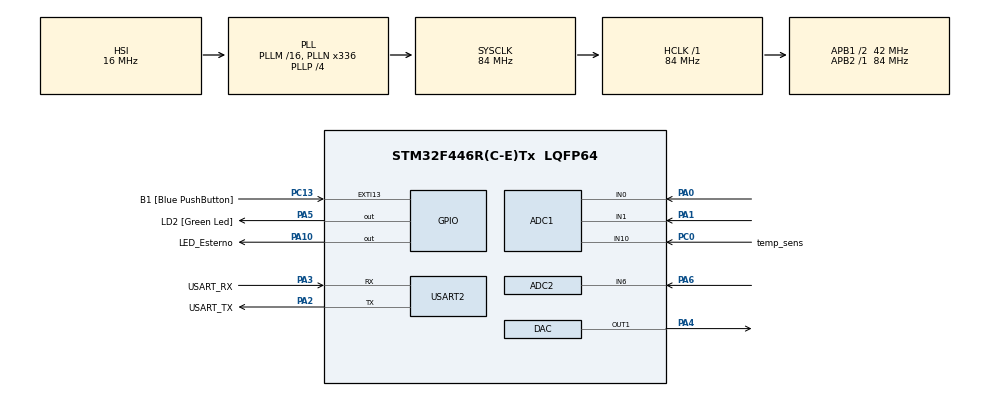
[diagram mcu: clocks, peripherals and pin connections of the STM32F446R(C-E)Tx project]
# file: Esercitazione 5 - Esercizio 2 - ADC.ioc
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Mcu.Family=STM32F4
PH0-OSC_IN.Signal=RCC_OSC_IN
RCC.CortexFreq_Value=84000000
VP_ADC1_TempSens_Input.Mode=IN-TempSens
ADC1.ContinuousConvMode=ENABLE
PA10.GPIO_PuPd=GPIO_PULLUP
PA14.GPIO_Label=TCK
PC0.GPIO_Label=temp_sens
PC13.GPIO_Label=B1 [Blue PushButton]
RCC.SYSCLKSource=RCC_SYSCLKSOURCE_PLLCLK
ProjectManager.StackSize=0x400
RCC.HCLKFreq_Value=84000000
RCC.APB2TimFreq_Value=84000000
RCC.AHBFreq_Value=84000000
PH0-OSC_IN.Mode=HSE-External-Oscillator
RCC.HSE_VALUE=8000000
ADC1.ScanConvMode=ENABLE
PC14-OSC32_IN.Mode=LSE-External-Oscillator
PA14.Mode=Serial_Wire
PA10.GPIO_Label=LED_Esterno
SH.ADCx_IN0.1=ADC2_IN0
SH.ADCx_IN0.0=ADC1_IN0,IN0
RCC.FLatency-AdvancedSettings=FLASH_LATENCY_2
PH1-OSC_OUT.Mode=HSE-External-Oscillator
Mcu.Package=LQFP64
PA6.Signal=ADCx_IN6
USART2.VirtualMode=VM_ASYNC
PA2.GPIO_Label=USART_TX
PA10.Signal=GPIO_Output
SH.ADCx_IN1.0=ADC1_IN1,IN1
SH.ADCx_IN1.1=ADC2_IN1
RCC.APB1TimFreq_Value=84000000
ADC1.EOCSelection=ADC_EOC_SINGLE_CONV
ADC2.Channel-3\#ChannelRegularConversion=ADC_CHANNEL_6
ADC2.ScanConvMode=ENABLE
PA3.Signal=USART2_RX
PB3.GPIO_Label=SWO
PC15-OSC32_OUT.Mode=LSE-External-Oscillator
SH.COMP_DAC1_group.0=DAC_OUT1,DAC_OUT1
SH.ADCx_IN6.0=ADC2_IN6,IN6
ADC2.Rank-3\#ChannelRegularConversion=1
PC13.Signal=GPXTI13
PC0.Signal=ADCx_IN10
RCC.APB1CLKDivider=RCC_HCLK_DIV2
PC14-OSC32_IN.Signal=RCC_OSC32_IN
PA0-WKUP.Signal=ADCx_IN0
PA13.Signal=SYS_JTMS-SWDIO
PA3.Mode=Asynchronous
ProjectManager.TargetToolchain=STM32CubeIDE
ADC1.Channel-1\#ChannelRegularConversion=ADC_CHANNEL_1
RCC.USBFreq_Value=168000000
PC15-OSC32_OUT.Signal=RCC_OSC32_OUT
PA1.Signal=ADCx_IN1
PA5.Signal=GPIO_Output
board=NUCLEO-F446RE
RCC.VCOOutputFreq_Value=336000000
RCC.APB2Freq_Value=84000000
PH1-OSC_OUT.Signal=RCC_OSC_OUT
ADC2.SamplingTime-3\#ChannelRegularConversion=ADC_SAMPLETIME_3CYCLES
ADC1.NbrOfConversion=1
PA13.Mode=Serial_Wire
Mcu.Name=STM32F446R(C-E)Tx
PA2.Signal=USART2_TX
PA13.GPIO_Label=TMS
RCC.48MHZClocksFreq_Value=84000000
PB3.Signal=SYS_JTDO-SWO
PA4.Signal=COMP_DAC1_group
ADC1.SamplingTime-1\#ChannelRegularConversion=ADC_SAMPLETIME_28CYCLES
RCC.SYSCLKFreq_VALUE=84000000
ADC1.master=1
PA5.GPIO_Label=LD2 [Green Led]
ADC2.NbrOfConversionFlag=1
PC13.GPIO_ModeDefaultEXTI=GPIO_MODE_IT_FALLING
ADC1.Rank-1\#ChannelRegularConversion=1
PA14.Signal=SYS_JTCK-SWCLK
SH.ADCx_IN10.0=ADC1_IN10,IN10
ProjectManager.HeapSize=0x200
RCC.HSI_VALUE=16000000
RCC.PLLP=RCC_PLLP_DIV4
NVIC.PriorityGroup=NVIC_PRIORITYGROUP_0
ADC1.NbrOfConversionFlag=1
RCC.PLLN=336
PA2.Mode=Asynchronous
RCC.APB1Freq_Value=42000000
PA3.GPIO_Label=USART_RX

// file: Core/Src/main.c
/* USER CODE BEGIN Header */
#include "stdbool.h"
#include "custom_lib/avg_lib.h"
#include "custom_lib/ADC_sensor.h"

/* USER CODE END Header */
#include "main.h"

ADC_HandleTypeDef hadc1;
ADC_HandleTypeDef hadc2;

DAC_HandleTypeDef hdac;

UART_HandleTypeDef huart2;

/* USER CODE BEGIN PV */

// Variables
bool alarm = true;

uint16_t raw_in=0;
float TMP36 = 0.0;
float LM35=0.0;
float media = 0.0;
uint16_t var = 0;
float val = 0.0;

float pot = 0.0;
float internalTemp = 0.0;
float returnADC = 0.0;

uint8_t valByte;
uint32_t lastValue_ms;
uint32_t currentValue_ms;

ADC_ChannelConfTypeDef sConfig = {0};

/* USER CODE END PV */

void SystemClock_Config(void);
static void MX_GPIO_Init(void);
static void MX_USART2_UART_Init(void);
static void MX_DAC_Init(void);
static void MX_ADC1_Init(void);
static void MX_ADC2_Init(void);

/* USER CODE BEGIN 0 */

float sample_pot[10];
float sample_LM35[10];
float sample_internalTemp[10];
float sample_TMP36[10];
float sample_returnADC[10];

float arrNumbers_pot[5] = {0};
float arrNumbers_LM35[5] = {0};
float arrNumbers_internalTemp[5] = {0};
float arrNumbers_TMP36[5] = {0};
float arrNumbers_returnADC[5] = {0};

// pot
int pos_pot = 0;
float newAvg_pot = 0.0;float sum_pot = 0;
int len_pot = sizeof(arrNumbers_pot) / sizeof(int);
int count_pot = sizeof(sample_pot) / sizeof(int);
int i_pot = 0;

// LM35
int pos_LM35 = 0;
float newAvg_LM35 = 0.0;
float sum_LM35 = 0;
int len_LM35 = sizeof(arrNumbers_LM35) / sizeof(int);
int count_LM35 = sizeof(sample_LM35) / sizeof(int);
int i_LM35 = 0;

// internalTemp
int pos_internalTemp = 0;
float newAvg_internalTemp = 0.0;
float sum_internalTemp = 0.0;
int len_internalTemp = sizeof(arrNumbers_internalTemp) / sizeof(int);
int count_internalTemp = sizeof(sample_internalTemp) / sizeof(int);
int i_internalTemp = 0;

// TMP36
int pos_TMP36 = 0;
float newAvg_TMP36 = 0.0;
float sum_TMP36 = 0.0;
int len_TMP36 = sizeof(arrNumbers_TMP36) / sizeof(int);
int count_TMP36 = sizeof(sample_TMP36) / sizeof(int);
int i_TMP36 = 0;

// returnADC
int pos_returnADC = 0;
float newAvg_returnADC = 0;
float sum_returnADC = 0;
int len_returnADC = sizeof(arrNumbers_returnADC) / sizeof(int);
int count_returnADC= sizeof(sample_returnADC) / sizeof(int);
int i_returnADC = 0;

/* USER CODE END 0 */

int main(void)
{

  /* MCU Configuration--------------------------------------------------------*/

  /* Reset of all peripherals, Initializes the Flash interface and the Systick. */
  HAL_Init();

  /* Configure the system clock */
  SystemClock_Config();

  /* Initialize all configured peripherals */
  MX_GPIO_Init();
  MX_USART2_UART_Init();
  MX_DAC_Init();
  MX_ADC1_Init();
  MX_ADC2_Init();
  /* USER CODE BEGIN 2 */
  HAL_DAC_Start(&hdac, DAC_CHANNEL_1);

  alarm = false;
  HAL_DAC_SetValue(&hdac, DAC_CHANNEL_1, DAC_ALIGN_8B_R, valByte);
  HAL_GPIO_WritePin(GPIOA, LED_Esterno_Pin, GPIO_PIN_RESET);

  lastValue_ms = HAL_GetTick();

  /* USER CODE END 2 */

  /* Infinite loop */
  /* USER CODE BEGIN WHILE */
  while (1) {
	  // ------------------ returnADC ------------------------
	  returnADC = getADCraw(&hadc2, &sConfig, ADC_CHANNEL_6, 1, ADC_SAMPLETIME_28CYCLES);
	  sample_returnADC[i_returnADC] = returnADC;
	  newAvg_returnADC = movingAvg(arrNumbers_returnADC, &sum_returnADC, pos_returnADC, len_returnADC, sample_returnADC[i_returnADC]);
	  updateAvg(&pos_returnADC, len_returnADC, &i_returnADC, count_returnADC);

	  if(alarm == false){
		  // ------------------ LM35 ------------------------
		  LM35 = getLM35(&hadc1, &sConfig, ADC_CHANNEL_10, 1, ADC_SAMPLETIME_84CYCLES);
		  sample_LM35[i_LM35] = LM35;
		  newAvg_LM35 = movingAvg(arrNumbers_LM35, &sum_LM35, pos_LM35, len_LM35, sample_LM35[i_LM35]);
		  updateAvg(&pos_LM35, len_LM35, &i_LM35, count_LM35);

		  // ------------------ INTERNAL SENS ------------------------
		  internalTemp = getInternalTemp(&hadc1, &sConfig, ADC_CHANNEL_TEMPSENSOR, 1, ADC_SAMPLETIME_56CYCLES);
		  sample_internalTemp[i_internalTemp] = internalTemp;
		  newAvg_internalTemp = movingAvg(arrNumbers_internalTemp, &sum_internalTemp, pos_internalTemp, len_internalTemp, sample_internalTemp[i_internalTemp]);
		  updateAvg(&pos_internalTemp, len_internalTemp, &i_internalTemp, count_internalTemp);

		  // ------------------ TMP36 ------------------------
		  TMP36 = getTMP36(&hadc1, &sConfig, ADC_CHANNEL_1, 1, ADC_SAMPLETIME_56CYCLES);
		  sample_TMP36[i_TMP36] = TMP36;
		  newAvg_TMP36 = movingAvg(arrNumbers_TMP36, &sum_TMP36, pos_TMP36, len_TMP36, sample_TMP36[i_TMP36]);
		  updateAvg(&pos_TMP36, len_TMP36, &i_TMP36, count_TMP36);

		  if( (newAvg_LM35 >030.0) | (newAvg_internalTemp > 28.0) | (newAvg_TMP36 >030.0) ){
			  alarm = true;
			  lastValue_ms = HAL_GetTick();
		  }else{
			  __NOP();
		  }
	  }else{

		  if(HAL_GetTick() - lastValue_ms < 10000){
			  pot = getADCraw(&hadc1, &sConfig, ADC_CHANNEL_0, 1, ADC_SAMPLETIME_28CYCLES);
			  sample_pot[i_pot] = pot;
			  newAvg_pot = movingAvg(arrNumbers_pot, &sum_pot, pos_pot, len_pot, sample_pot[i_pot]);
			  updateAvg(&pos_pot, len_pot, &i_pot, count_pot);

			  valByte = (uint8_t)(newAvg_pot/16.0); // valore a 12 bit scalato a 8 bit
			  HAL_DAC_SetValue(&hdac, DAC_CHANNEL_1, DAC_ALIGN_8B_R, valByte);
			  HAL_GPIO_WritePin(GPIOA, LED_Esterno_Pin, GPIO_PIN_SET);
		  }else{
			  alarm = false;
			  valByte = (uint8_t)(0.0); // mettere 0
			  HAL_DAC_SetValue(&hdac, DAC_CHANNEL_1, DAC_ALIGN_8B_R, valByte);
			  HAL_GPIO_WritePin(GPIOA, LED_Esterno_Pin, GPIO_PIN_RESET);
		  }
	  }

  }
    /* USER CODE END WHILE */

}

void SystemClock_Config(void)
{
  RCC_OscInitTypeDef RCC_OscInitStruct = {0};
  RCC_ClkInitTypeDef RCC_ClkInitStruct = {0};

  /** Configure the main internal regulator output voltage
  */
  __HAL_RCC_PWR_CLK_ENABLE();
  __HAL_PWR_VOLTAGESCALING_CONFIG(PWR_REGULATOR_VOLTAGE_SCALE3);
  /** Initializes the RCC Oscillators according to the specified parameters
  * in the RCC_OscInitTypeDef structure.
  */
  RCC_OscInitStruct.OscillatorType = RCC_OSCILLATORTYPE_HSI;
  RCC_OscInitStruct.HSIState = RCC_HSI_ON;
  RCC_OscInitStruct.HSICalibrationValue = RCC_HSICALIBRATION_DEFAULT;
  RCC_OscInitStruct.PLL.PLLState = RCC_PLL_ON;
  RCC_OscInitStruct.PLL.PLLSource = RCC_PLLSOURCE_HSI;
  RCC_OscInitStruct.PLL.PLLM = 16;
  RCC_OscInitStruct.PLL.PLLN = 336;
  RCC_OscInitStruct.PLL.PLLP = RCC_PLLP_DIV4;
  RCC_OscInitStruct.PLL.PLLQ = 2;
  RCC_OscInitStruct.PLL.PLLR = 2;
  if (HAL_RCC_OscConfig(&RCC_OscInitStruct) != HAL_OK)
  {
    Error_Handler();
  }
  /** Initializes the CPU, AHB and APB buses clocks
  */
  RCC_ClkInitStruct.ClockType = RCC_CLOCKTYPE_HCLK|RCC_CLOCKTYPE_SYSCLK
                              |RCC_CLOCKTYPE_PCLK1|RCC_CLOCKTYPE_PCLK2;
  RCC_ClkInitStruct.SYSCLKSource = RCC_SYSCLKSOURCE_PLLCLK;
  RCC_ClkInitStruct.AHBCLKDivider = RCC_SYSCLK_DIV1;
  RCC_ClkInitStruct.APB1CLKDivider = RCC_HCLK_DIV2;
  RCC_ClkInitStruct.APB2CLKDivider = RCC_HCLK_DIV1;

  if (HAL_RCC_ClockConfig(&RCC_ClkInitStruct, FLASH_LATENCY_2) != HAL_OK)
  {
    Error_Handler();
  }
}

static void MX_ADC1_Init(void)
{

//
// ADC_ChannelConfTypeDef sConfig = {0};

  /** Configure the global features of the ADC (Clock, Resolution, Data Alignment and number of conversion)
  */
  hadc1.Instance = ADC1;
  hadc1.Init.ClockPrescaler = ADC_CLOCK_SYNC_PCLK_DIV4;
  hadc1.Init.Resolution = ADC_RESOLUTION_12B;
  hadc1.Init.ScanConvMode = ENABLE;
  hadc1.Init.ContinuousConvMode = ENABLE;
  hadc1.Init.DiscontinuousConvMode = DISABLE;
  hadc1.Init.ExternalTrigConvEdge = ADC_EXTERNALTRIGCONVEDGE_NONE;
  hadc1.Init.ExternalTrigConv = ADC_SOFTWARE_START;
  hadc1.Init.DataAlign = ADC_DATAALIGN_RIGHT;
  hadc1.Init.NbrOfConversion = 1;
  hadc1.Init.DMAContinuousRequests = DISABLE;
  hadc1.Init.EOCSelection = ADC_EOC_SINGLE_CONV;
  if (HAL_ADC_Init(&hadc1) != HAL_OK)
  {
    Error_Handler();
  }
  /** Configure for the selected ADC regular channel its corresponding rank in the sequencer and its sample time.
  *///  sConfig.Channel = ADC_CHANNEL_1;//  sConfig.Rank = 1;//  sConfig.SamplingTime = ADC_SAMPLETIME_28CYCLES;//  if (HAL_ADC_ConfigChannel(&hadc1, &sConfig) != HAL_OK)//  {//    Error_Handler();//  }

}

static void MX_ADC2_Init(void)
{

  ADC_ChannelConfTypeDef sConfig = {0};

  /** Configure the global features of the ADC (Clock, Resolution, Data Alignment and number of conversion)
  */
  hadc2.Instance = ADC2;
  hadc2.Init.ClockPrescaler = ADC_CLOCK_SYNC_PCLK_DIV4;
  hadc2.Init.Resolution = ADC_RESOLUTION_12B;
  hadc2.Init.ScanConvMode = ENABLE;
  hadc2.Init.ContinuousConvMode = ENABLE;
  hadc2.Init.DiscontinuousConvMode = DISABLE;
  hadc2.Init.ExternalTrigConvEdge = ADC_EXTERNALTRIGCONVEDGE_NONE;
  hadc2.Init.ExternalTrigConv = ADC_SOFTWARE_START;
  hadc2.Init.DataAlign = ADC_DATAALIGN_RIGHT;
  hadc2.Init.NbrOfConversion = 1;
  hadc2.Init.DMAContinuousRequests = DISABLE;
  hadc2.Init.EOCSelection = ADC_EOC_SINGLE_CONV;
  if (HAL_ADC_Init(&hadc2) != HAL_OK)
  {
    Error_Handler();
  }
  /** Configure for the selected ADC regular channel its corresponding rank in the sequencer and its sample time.
  */
  sConfig.Channel = ADC_CHANNEL_6;
  sConfig.Rank = 1;
  sConfig.SamplingTime = ADC_SAMPLETIME_3CYCLES;
  if (HAL_ADC_ConfigChannel(&hadc2, &sConfig) != HAL_OK)
  {
    Error_Handler();
  }

}

static void MX_DAC_Init(void)
{

  DAC_ChannelConfTypeDef sConfig = {0};

  /** DAC Initialization
  */
  hdac.Instance = DAC;
  if (HAL_DAC_Init(&hdac) != HAL_OK)
  {
    Error_Handler();
  }
  /** DAC channel OUT1 config
  */
  sConfig.DAC_Trigger = DAC_TRIGGER_NONE;
  sConfig.DAC_OutputBuffer = DAC_OUTPUTBUFFER_ENABLE;
  if (HAL_DAC_ConfigChannel(&hdac, &sConfig, DAC_CHANNEL_1) != HAL_OK)
  {
    Error_Handler();
  }

}

static void MX_USART2_UART_Init(void)
{

  huart2.Instance = USART2;
  huart2.Init.BaudRate = 115200;
  huart2.Init.WordLength = UART_WORDLENGTH_8B;
  huart2.Init.StopBits = UART_STOPBITS_1;
  huart2.Init.Parity = UART_PARITY_NONE;
  huart2.Init.Mode = UART_MODE_TX_RX;
  huart2.Init.HwFlowCtl = UART_HWCONTROL_NONE;
  huart2.Init.OverSampling = UART_OVERSAMPLING_16;
  if (HAL_UART_Init(&huart2) != HAL_OK)
  {
    Error_Handler();
  }

}

static void MX_GPIO_Init(void)
{
  GPIO_InitTypeDef GPIO_InitStruct = {0};

  /* GPIO Ports Clock Enable */
  __HAL_RCC_GPIOC_CLK_ENABLE();
  __HAL_RCC_GPIOH_CLK_ENABLE();
  __HAL_RCC_GPIOA_CLK_ENABLE();
  __HAL_RCC_GPIOB_CLK_ENABLE();

  /*Configure GPIO pin Output Level */
  HAL_GPIO_WritePin(GPIOA, LD2_Pin|LED_Esterno_Pin, GPIO_PIN_RESET);

  /*Configure GPIO pin : B1_Pin */
  GPIO_InitStruct.Pin = B1_Pin;
  GPIO_InitStruct.Mode = GPIO_MODE_IT_FALLING;
  GPIO_InitStruct.Pull = GPIO_NOPULL;
  HAL_GPIO_Init(B1_GPIO_Port, &GPIO_InitStruct);

  /*Configure GPIO pin : LD2_Pin */
  GPIO_InitStruct.Pin = LD2_Pin;
  GPIO_InitStruct.Mode = GPIO_MODE_OUTPUT_PP;
  GPIO_InitStruct.Pull = GPIO_NOPULL;
  GPIO_InitStruct.Speed = GPIO_SPEED_FREQ_LOW;
  HAL_GPIO_Init(LD2_GPIO_Port, &GPIO_InitStruct);

  /*Configure GPIO pin : LED_Esterno_Pin */
  GPIO_InitStruct.Pin = LED_Esterno_Pin;
  GPIO_InitStruct.Mode = GPIO_MODE_OUTPUT_PP;
  GPIO_InitStruct.Pull = GPIO_PULLUP;
  GPIO_InitStruct.Speed = GPIO_SPEED_FREQ_LOW;
  HAL_GPIO_Init(LED_Esterno_GPIO_Port, &GPIO_InitStruct);

}

void Error_Handler(void)
{
}

/************************ (C) COPYRIGHT STMicroelectronics *****END OF FILE****/
